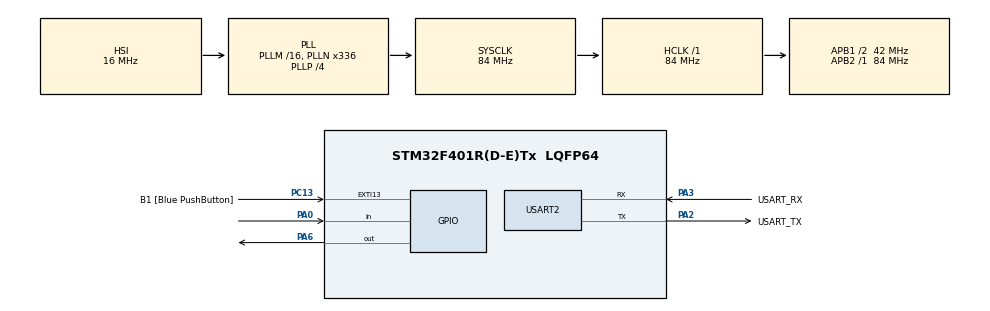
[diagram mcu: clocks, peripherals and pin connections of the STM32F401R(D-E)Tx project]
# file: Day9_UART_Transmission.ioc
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Mcu.Family=STM32F4
Mcu.Name=STM32F401R(D-E)Tx
Mcu.Package=LQFP64
NVIC.PriorityGroup=NVIC_PRIORITYGROUP_4
PA0-WKUP.GPIO_PuPd=GPIO_PULLUP
PA0-WKUP.Signal=GPIO_Input
PA13.GPIO_Label=TMS
PA13.Mode=Trace_Asynchronous_SW
PA13.Signal=SYS_JTMS-SWDIO
PA14.GPIO_Label=TCK
PA14.Mode=Trace_Asynchronous_SW
PA14.Signal=SYS_JTCK-SWCLK
PA2.GPIO_Label=USART_TX
PA2.GPIO_Mode=GPIO_MODE_AF_PP
PA2.GPIO_PuPd=GPIO_NOPULL
PA2.GPIO_Speed=GPIO_SPEED_FREQ_LOW
PA2.Mode=Asynchronous
PA2.Signal=USART2_TX
PA3.GPIO_Label=USART_RX
PA3.GPIO_Mode=GPIO_MODE_AF_PP
PA3.GPIO_PuPd=GPIO_NOPULL
PA3.GPIO_Speed=GPIO_SPEED_FREQ_LOW
PA3.Mode=Asynchronous
PA3.Signal=USART2_RX
PA6.Signal=GPIO_Output
PB3.GPIO_Label=SWO
PB3.Mode=Trace_Asynchronous_SW
PB3.Signal=SYS_JTDO-SWO
PC13-ANTI_TAMP.GPIO_Label=B1 [Blue PushButton]
PC13-ANTI_TAMP.GPIO_ModeDefaultEXTI=GPIO_MODE_IT_FALLING
PC13-ANTI_TAMP.GPIO_PuPd=GPIO_NOPULL
PC13-ANTI_TAMP.Signal=GPXTI13
PC14-OSC32_IN.Mode=LSE-External-Oscillator
PC14-OSC32_IN.Signal=RCC_OSC32_IN
PC15-OSC32_OUT.Mode=LSE-External-Oscillator
PC15-OSC32_OUT.Signal=RCC_OSC32_OUT
PH0\ -\ OSC_IN.Mode=HSE-External-Clock-Source
PH0\ -\ OSC_IN.Signal=RCC_OSC_IN
PH1\ -\ OSC_OUT.Mode=HSE-External-Clock-Source
PH1\ -\ OSC_OUT.Signal=RCC_OSC_OUT
ProjectManager.HeapSize=0x200
ProjectManager.StackSize=0x400
ProjectManager.TargetToolchain=STM32CubeIDE
RCC.48MHZClocksFreq_Value=48000000
RCC.AHBFreq_Value=84000000
RCC.APB1CLKDivider=RCC_HCLK_DIV2
RCC.APB1Freq_Value=42000000
RCC.APB1TimFreq_Value=84000000
RCC.APB2Freq_Value=84000000
RCC.APB2TimFreq_Value=84000000
RCC.CortexFreq_Value=84000000
RCC.HCLKFreq_Value=84000000
RCC.HSE_VALUE=8000000
RCC.HSI_VALUE=16000000
RCC.PLLN=336
RCC.PLLP=RCC_PLLP_DIV4
RCC.PLLQ=7
RCC.SYSCLKFreq_VALUE=84000000
RCC.SYSCLKSource=RCC_SYSCLKSOURCE_PLLCLK
RCC.VCOOutputFreq_Value=336000000
USART2.VirtualMode=VM_ASYNC
board=NUCLEO-F401RE

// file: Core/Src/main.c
/* USER CODE BEGIN Header */
/**
  ******************************************************************************
  * @file           : main.c
  * @brief          : Main program body
  ******************************************************************************
  * @attention
  *
  * Copyright (c) 2026 STMicroelectronics.
  * All rights reserved.
  *
  * This software is licensed under terms that can be found in the LICENSE file
  * in the root directory of this software component.
  * If no LICENSE file comes with this software, it is provided AS-IS.
  *
  ******************************************************************************
  */
/* USER CODE END Header */
#include "main.h"

/* USER CODE BEGIN Includes */

#include <string.h>
#include <stdio.h>

/* USER CODE END Includes */

UART_HandleTypeDef huart2;

/* USER CODE BEGIN PV */

uint32_t lastBlinkTime = 0;
uint32_t blinkInterval = 500;

uint32_t lastStatusTime = 0;
uint32_t statusInterval = 1000;

uint32_t lastDebounceTime = 0;
uint32_t debounceInterval = 30;

GPIO_PinState lastRawButtonState = GPIO_PIN_SET;
GPIO_PinState stableButtonState = GPIO_PIN_SET;

uint32_t buttonCount = 0;

/* USER CODE END PV */

void SystemClock_Config(void);
static void MX_GPIO_Init(void);
static void MX_USART2_UART_Init(void);
/* USER CODE BEGIN PFP */
void UART_Print(const char *message);
/* USER CODE END PFP */

int main(void)
{

  /* MCU Configuration--------------------------------------------------------*/

  /* Reset of all peripherals, Initializes the Flash interface and the Systick. */
  HAL_Init();

  /* Configure the system clock */
  SystemClock_Config();

  /* Initialize all configured peripherals */
  MX_GPIO_Init();
  MX_USART2_UART_Init();
  /* USER CODE BEGIN 2 */
  lastStatusTime = HAL_GetTick();
  /* Read the actual startup state of the button */
  lastRawButtonState = HAL_GPIO_ReadPin(GPIOA, GPIO_PIN_0);
  stableButtonState = lastRawButtonState;

  /* Record the starting time */
  lastBlinkTime = HAL_GetTick();
  lastDebounceTime = HAL_GetTick();

  char startupMessage[] = "System started\r\n";
  UART_Print(startupMessage);

  /* USER CODE END 2 */

  /* Infinite loop */
  /* USER CODE BEGIN WHILE */
  while (1)
  {
	  uint32_t currentTime = HAL_GetTick();

	      /* Blink LED every 500 ms */
	      if ((currentTime - lastBlinkTime) >= blinkInterval)
	      {
	          lastBlinkTime = currentTime;
	          HAL_GPIO_TogglePin(GPIOA, GPIO_PIN_6);
	      }

	      /* Read button */
	      GPIO_PinState rawButtonState =
	          HAL_GPIO_ReadPin(GPIOA, GPIO_PIN_0);

	      /* Restart debounce timer if state changes */
	      if (rawButtonState != lastRawButtonState)
	      {
	          lastRawButtonState = rawButtonState;
	          lastDebounceTime = currentTime;
	      }

	      /* Confirm stable button state */
	      if ((currentTime - lastDebounceTime) >= debounceInterval)
	      {
	          if (rawButtonState != stableButtonState)
	          {
	              stableButtonState = rawButtonState;

	              if (stableButtonState == GPIO_PIN_RESET)
	              {
	                  buttonCount++;
	              }
	          }
	      }

	      /* Send status once every second */
	      if ((currentTime - lastStatusTime) >= statusInterval)
	      {
	          lastStatusTime = currentTime;

	          char message[128];

	          GPIO_PinState ledState =
	              HAL_GPIO_ReadPin(GPIOA, GPIO_PIN_6);

	          snprintf(
	              message,
	              sizeof(message),
	              "Counter: %lu | Button: %s | LED: %s\r\n",
				  (unsigned long)buttonCount,
	              (stableButtonState == GPIO_PIN_RESET) ? "PRESSED" : "RELEASED",
	              (ledState == GPIO_PIN_SET) ? "ON" : "OFF"
	          );

	          UART_Print(message);
	      }
	  }

  /* USER CODE END 3 */
}

void SystemClock_Config(void)
{
  RCC_OscInitTypeDef RCC_OscInitStruct = {0};
  RCC_ClkInitTypeDef RCC_ClkInitStruct = {0};

  /** Configure the main internal regulator output voltage
  */
  __HAL_RCC_PWR_CLK_ENABLE();
  __HAL_PWR_VOLTAGESCALING_CONFIG(PWR_REGULATOR_VOLTAGE_SCALE2);

  /** Initializes the RCC Oscillators according to the specified parameters
  * in the RCC_OscInitTypeDef structure.
  */
  RCC_OscInitStruct.OscillatorType = RCC_OSCILLATORTYPE_HSI;
  RCC_OscInitStruct.HSIState = RCC_HSI_ON;
  RCC_OscInitStruct.HSICalibrationValue = RCC_HSICALIBRATION_DEFAULT;
  RCC_OscInitStruct.PLL.PLLState = RCC_PLL_ON;
  RCC_OscInitStruct.PLL.PLLSource = RCC_PLLSOURCE_HSI;
  RCC_OscInitStruct.PLL.PLLM = 16;
  RCC_OscInitStruct.PLL.PLLN = 336;
  RCC_OscInitStruct.PLL.PLLP = RCC_PLLP_DIV4;
  RCC_OscInitStruct.PLL.PLLQ = 7;
  if (HAL_RCC_OscConfig(&RCC_OscInitStruct) != HAL_OK)
  {
    Error_Handler();
  }

  /** Initializes the CPU, AHB and APB buses clocks
  */
  RCC_ClkInitStruct.ClockType = RCC_CLOCKTYPE_HCLK|RCC_CLOCKTYPE_SYSCLK
                              |RCC_CLOCKTYPE_PCLK1|RCC_CLOCKTYPE_PCLK2;
  RCC_ClkInitStruct.SYSCLKSource = RCC_SYSCLKSOURCE_PLLCLK;
  RCC_ClkInitStruct.AHBCLKDivider = RCC_SYSCLK_DIV1;
  RCC_ClkInitStruct.APB1CLKDivider = RCC_HCLK_DIV2;
  RCC_ClkInitStruct.APB2CLKDivider = RCC_HCLK_DIV1;

  if (HAL_RCC_ClockConfig(&RCC_ClkInitStruct, FLASH_LATENCY_2) != HAL_OK)
  {
    Error_Handler();
  }
}

static void MX_USART2_UART_Init(void)
{

  huart2.Instance = USART2;
  huart2.Init.BaudRate = 115200;
  huart2.Init.WordLength = UART_WORDLENGTH_8B;
  huart2.Init.StopBits = UART_STOPBITS_1;
  huart2.Init.Parity = UART_PARITY_NONE;
  huart2.Init.Mode = UART_MODE_TX_RX;
  huart2.Init.HwFlowCtl = UART_HWCONTROL_NONE;
  huart2.Init.OverSampling = UART_OVERSAMPLING_16;
  if (HAL_UART_Init(&huart2) != HAL_OK)
  {
    Error_Handler();
  }

}

static void MX_GPIO_Init(void)
{
  GPIO_InitTypeDef GPIO_InitStruct = {0};

  /* GPIO Ports Clock Enable */
  __HAL_RCC_GPIOC_CLK_ENABLE();
  __HAL_RCC_GPIOH_CLK_ENABLE();
  __HAL_RCC_GPIOA_CLK_ENABLE();
  __HAL_RCC_GPIOB_CLK_ENABLE();

  /*Configure GPIO pin Output Level */
  HAL_GPIO_WritePin(GPIOA, GPIO_PIN_6, GPIO_PIN_RESET);

  /*Configure GPIO pin : B1_Pin */
  GPIO_InitStruct.Pin = B1_Pin;
  GPIO_InitStruct.Mode = GPIO_MODE_IT_FALLING;
  GPIO_InitStruct.Pull = GPIO_NOPULL;
  HAL_GPIO_Init(B1_GPIO_Port, &GPIO_InitStruct);

  /*Configure GPIO pin : PA0 */
  GPIO_InitStruct.Pin = GPIO_PIN_0;
  GPIO_InitStruct.Mode = GPIO_MODE_INPUT;
  GPIO_InitStruct.Pull = GPIO_PULLUP;
  HAL_GPIO_Init(GPIOA, &GPIO_InitStruct);

  /*Configure GPIO pin : PA6 */
  GPIO_InitStruct.Pin = GPIO_PIN_6;
  GPIO_InitStruct.Mode = GPIO_MODE_OUTPUT_PP;
  GPIO_InitStruct.Pull = GPIO_NOPULL;
  GPIO_InitStruct.Speed = GPIO_SPEED_FREQ_LOW;
  HAL_GPIO_Init(GPIOA, &GPIO_InitStruct);

}

/* USER CODE BEGIN 4 */
void UART_Print(const char *message)
{
    HAL_UART_Transmit(
        &huart2,
        (uint8_t *)message,
        strlen(message),
        HAL_MAX_DELAY
    );
}

/* USER CODE END 4 */

void Error_Handler(void)
{
  __disable_irq();
  while (1)
  {
  }
}
